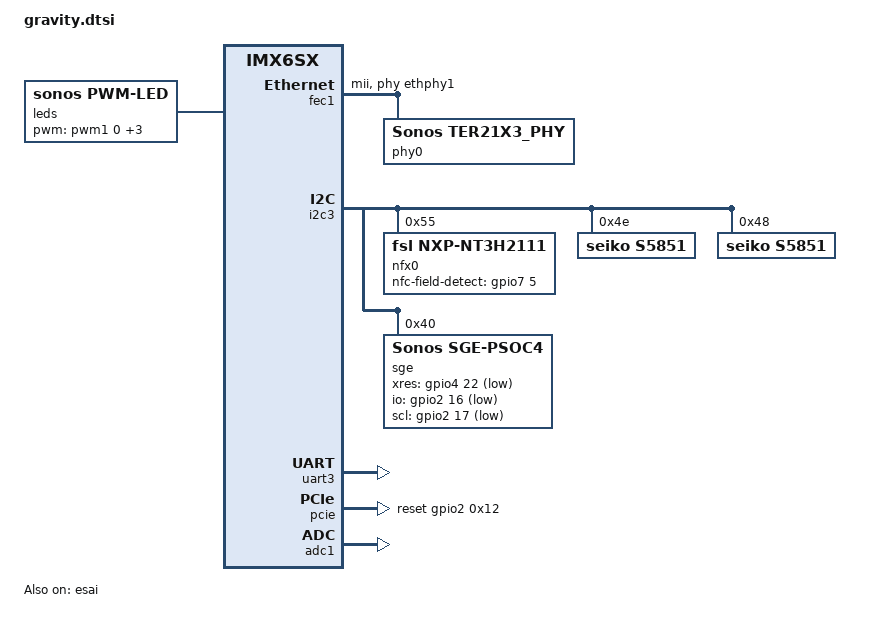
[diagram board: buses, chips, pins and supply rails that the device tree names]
/*
 * Copyright (c) 2020-2021, Sonos, Inc.
 *
 * SPDX-License-Identifier:     GPL-2.0
 *
 */
#include "sonos_imx6sx_common.dtsi"

/ {
	sonos-platform {
		/* Sonos platform specific values for shared driver source & binaries */
		sonos-ampctl {
			/* Gravity has one amp fault.  It has three control lines.
			 */
			status = "okay";
			amprail-adc-port = <1>;
			amprail-adc-scale = <7007>;

			sonos-ampfaults {
				num-faults = <0x01>;
				status = "okay";

				ampfault@0 {
					fault-gpio = <&gpio7 4 0>;
				} ;
			} ;

			sonos-ampctl-signals {
				num-ctl-signals = <3>;
				sonos-ampsignal@0 {		// DACRESET
					config = <1>;
					on-time = <4>;
					off-time = <4>;
					supports-off = <1>;
					active-low = <1>;
					sig-gpio = <&gpio1 5 0>;
				} ;
				sonos-ampsignal@1 {		// POWER
					on-time = <15>;
					off-time = <0>;
					supports-off = <0>;
					sig-gpio = <&gpio1 6 0>;
				} ;
				sonos-ampsignal@2 {		// AMP MUTE
					config = <1>;
					on-time = <4>;
					off-time = <1>;
					supports-off = <1>;
					sig-gpio = <&gpio1 7 0>;
				} ;
			} ;
		} ;

                misc-gpio {
                        connect-button = <&gpio7 3 0>;
                };

                simulated-buttons {
                        /* event-sources are offsets from EVTSOURCE_BUTTON_PLAYPAUSE, some generate an event for more than one source */
                        join {
                                event-sources = <3>;
                        };
                };

		thermal-mgmt {
			CPU {
				compatible = "seiko,s5851";
				fault-temperature = <83>;
				warn-temperature = <80>;
			};
			AMP {
				compatible = "seiko,s5851";
				fault-temperature = <89>;
				warn-temperature = <86>;
			};
		};
	};

	psmon {
		compatible = "sonos,psmon";
		shutdown-voltage = <10000>;
		adc-port = <1>;
		adc-scale = <7007>;
	};

	sonos_dummy_codec_dac: dac_dummy_codec {
		#sound-dai-cells = <0>;
		compatible = "Sonos,dummy-codec";
		stream-name = "sonos.dac";
		rate = <44100>; /* We use 44.1 KHz as the audio output rate */
		format = "S32_LE"; /* We use signed 24-bit little endian samples in a 32-bit word */
		channels = <2>;
		status = "okay";
	};

	sound {
		compatible = "simple-audio-card";
		simple-audio-card,name = "DAC";
		simple-audio-card,format = "i2s";
		simple-audio-card,bitclock-master = <&esai_out>;
		simple-audio-card,frame-master = <&esai_out>;
		simple-audio-card,mclk-fs = <256>;

		esai_out: simple-audio-card,cpu {
			sound-dai = <&esai>;
			clocks = <&clks IMX6SX_CLK_ESAI_EXTAL>;
			clock-id = <1>; /* ESAI_HCKT_EXTAL */
		};

		simple-audio-card,codec {
			sound-dai = <&sonos_dummy_codec_dac>;
		};
	};

	leds: pwm-leds {
		compatible = "sonos,pwm-led";
		pwm-names = "red", "green", "amber", "white";
		pwms = <&pwm1 0 0>, <&pwm2 0 0>, <&pwm3 0 0>, <&pwm4 0 2000000000>;
		scale = <0x1000>;
		period = <0xff000>;
		status = "okay";
	};
};

&esai {
	status = "okay";
};

&fec1 {
	status = "okay";
	phy-mode = "mii";
	phy-handle = <&ethphy1>;
	phy0 {
		compatible = "Sonos,ter21x3_phy";
		interrupts = <&gpio2 9 1>;
	};
};

&fec2 {
	status = "disabled";
};

&i2c1 {

};

&i2c2 {

};

&i2c3 {
        nfx0: nxp-nt3h211@55 {       // NXP 3H2111 NFC
                compatible = "fsl,nxp-nt3h2111";
                reg = <0x55>;
		nfc-field-detect = <&gpio7 5 0>;
                status = "okay";
        };
	s5851@0 {	// CPU thermal sensor
		compatible = "seiko,s5851";
		reg = <0x4e>;
		device_type = "CPU";
	};
	s5851@1 {	// AMP thermal sensor
		compatible = "seiko,s5851";
		reg = <0x48>;
		device_type = "AMP";
	};
	sge@0 {		// Sigdetail Gesture Engine
		compatible = "Sonos,sge-psoc4";
		pinctrl-names = "mode-flow-ctrl", "mode-uart-hiz";
		pinctrl-0 = <>;
		pinctrl-1 = <>;
		reg = <0x40>;
		iomuxc-ofs = <0x20e0000 0x1000 0x270 0x274 0x5b8 0x5bc 0x83c>;
		iomuxc-params = "base-addr", "len", "mux-s3d6", "mux-s3d7", "ctl-s3d6", "ctl-s3d7", "uart3-rts-sel";
                xres-gpio = <&gpio4 22 1>;
		io-gpio   = <&gpio2 16 1>;
		scl-gpio  = <&gpio2 17 1>;
		share-swd-uart = <0>;
		eco-trim-cap = <0x445e>;
		psoc-no-captouch;
		swd-preempt-disable;

		psoc-images {
			image@0 {
				model-num = <4128>;
				ident = <0x12>;
				flash-rows = <1024>;
				flash-row-size = <256>;
				flash-protection-size = <128>;
			};
		};
	};
};

&uart3 {
	fsl,uart-has-rtscts;
	status = "okay";
};


&pcie{
	clock-names = "pcie_phy", "pcie_bus", "pcie", "pcie_inbound_axi";
	reset-gpio = <&gpio2 0x12 0x0>;
	fsl,tx-deemph-gen1 = <21>;
	fsl,tx-deemph-gen2-3p5db = <21>;
	fsl,tx-deemph-gen2-6db = <32>;
	fsl,tx-swing-full = <115>;
	fsl,tx-swing-low = <115>;
	status = "okay";
};

&adc1 {
	status = "okay";
};

&pcie{
	status = "okay";
};
